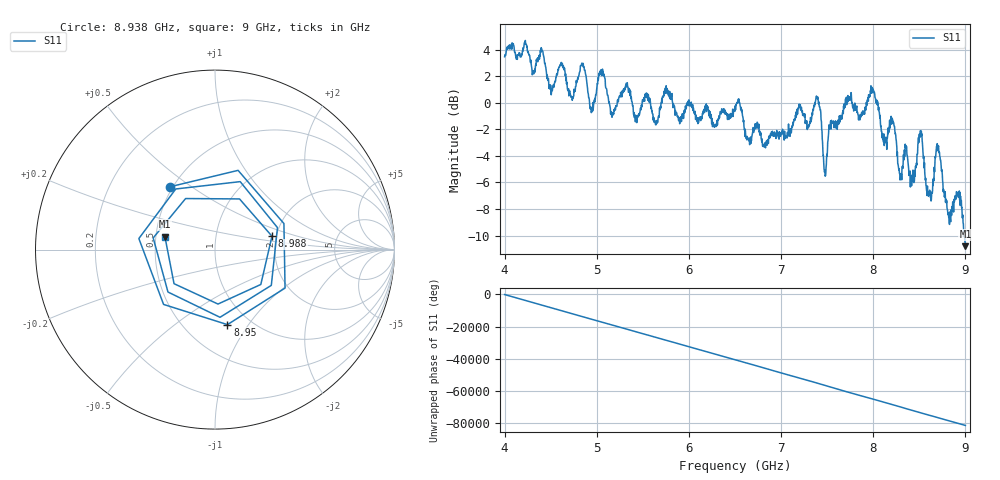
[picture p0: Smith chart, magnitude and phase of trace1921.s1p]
! Created with skrf 1.8.0 (http://scikit-rf.org).
# Hz S RI R 50.0
!freq ReS11 ImS11
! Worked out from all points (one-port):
!   1601 points, 4 GHz to 9 GHz, reference 50 ohm
!   lowest |S11| = -10.8 dB at 9 GHz (marker M1), VSWR 1.81, Z = 27.9 + j4.43 ohm
!   |S11| at or under -10 dB: 8.983461 GHz to 8.984839 GHz (1.378 MHz wide, 0.0153 % of centre); 8.991785 GHz to end of sweep
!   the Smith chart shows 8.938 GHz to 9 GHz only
!   S11 on the Smith chart (normalised r, x): 8.938 GHz: 0.48, +0.42; 8.95 GHz: 0.79, -0.80; 8.988 GHz: 1.90, +0.32; 9 GHz: 0.56, +0.09
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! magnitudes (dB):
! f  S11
! 4 GHz  3.5
! 4.625 GHz  3.0
! 4.722 GHz  0.5
! 4.85 GHz  3.0
! 4.944 GHz  -0.6
! 5.047 GHz  2.5
! 5.25 GHz  0.5
! 5.875 GHz  -1.0
! 6.5 GHz  -0.6
! 6.822 GHz  -3.2
! 7.125 GHz  -1.8
! 7.397 GHz  0.4
! 7.478 GHz  -5.5
! 7.75 GHz  0.4
! 7.994 GHz  1.1
! 8.122 GHz  -3.0
! 8.219 GHz  -1.5
! 8.291 GHz  -5.8
! 8.375 GHz  -4.3
! 8.428 GHz  -5.3
! 8.509 GHz  -2.2
! 8.606 GHz  -6.7
! 8.7 GHz  -3.3
! 8.825 GHz  -9.1
! 8.938 GHz  -7.3
! 8.95 GHz  -7.5
! 8.988 GHz  -9.7
! 9 GHz  -10.8
